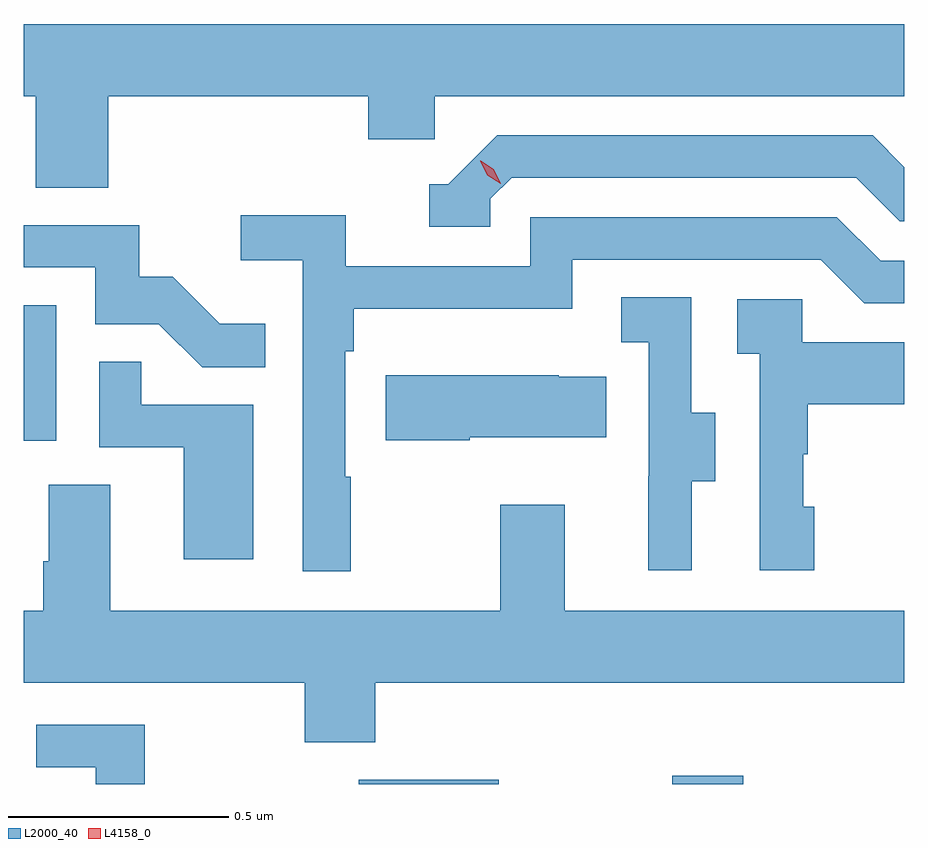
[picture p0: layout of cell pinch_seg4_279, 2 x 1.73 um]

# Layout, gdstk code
import gdstk
lib = gdstk.Library(unit=1e-6, precision=1e-09)
def R(c, l, rs):  # rectangles x0, y0, x1, y1
    for r in rs: c.add(gdstk.rectangle(r[:2], r[2:], *l))
def P(c, l, *ps):  # polygons
    for p in ps: c.add(gdstk.Polygon(p, *l))
L2000_40 = (2000, 40)
L4158_0 = (4158, 0)

pinch_seg4_279 = lib.new_cell('pinch_seg4_279')
R(pinch_seg4_279, L2000_40, [(924.745,819.234,925.063,819.244), (925.457,819.234,925.618,819.253), (923.984,820.014,924.058,820.321)])
P(pinch_seg4_279, L2000_40, [(923.984,820.796),(924.011,820.796),(924.011,820.588),(924.176,820.588),(924.176,820.796),(924.767,820.796),(924.767,820.698),(924.918,820.698),(924.918,820.796),(925.984,820.796),(925.984,820.96),(923.984,820.96)],
  [(925.044,820.563),(925.092,820.611),(925.875,820.611),(925.974,820.512),(925.984,820.512),(925.984,820.635),(925.912,820.707),(925.059,820.707),(924.948,820.596),(924.905,820.596),(924.905,820.5),(925.044,820.5)],
  [(924.727,819.932),(924.714,819.932),(924.714,820.217),(924.734,820.217),(924.734,820.313),(925.23,820.313),(925.23,820.425),(925.794,820.425),(925.893,820.326),(925.984,820.326),(925.984,820.422),(925.93,820.422),(925.831,820.521),(925.134,820.521),(925.134,820.41),(924.716,820.41),(924.716,820.526),(924.477,820.526),(924.477,820.424),(924.618,820.424),(924.618,819.717),(924.727,819.717)],
  [(924.533,820.279),(924.429,820.279),(924.322,820.386),(924.246,820.386),(924.246,820.503),(923.984,820.503),(923.984,820.407),(924.147,820.407),(924.147,820.278),(924.291,820.278),(924.389,820.18),(924.533,820.18)],
  [(925.501,819.922),(925.555,819.922),(925.555,820.077),(925.5,820.077),(925.5,820.34),(925.341,820.34),(925.341,820.237),(925.404,820.237),(925.404,819.933),(925.403,819.933),(925.403,819.72),(925.501,819.72)],
  [(925.78,819.864),(925.755,819.864),(925.755,819.983),(925.765,819.983),(925.765,820.097),(925.984,820.097),(925.984,820.237),(925.752,820.237),(925.752,820.335),(925.605,820.335),(925.605,820.211),(925.656,820.211),(925.656,819.72),(925.78,819.72)],
  [(924.505,820.095),(924.251,820.095),(924.251,820.193),(924.156,820.193),(924.156,819.999),(924.347,819.999),(924.347,819.744),(924.505,819.744)],
  [(924.997,820.022),(925.307,820.022),(925.307,820.159),(925.199,820.159),(925.199,820.162),(924.806,820.162),(924.806,820.015),(924.997,820.015)],
  [(924.782,819.464),(925.984,819.464),(925.984,819.628),(925.213,819.628),(925.213,819.868),(925.066,819.868),(925.066,819.628),(924.181,819.628),(924.181,819.914),(924.041,819.914),(924.041,819.74),(924.029,819.74),(924.029,819.628),(923.984,819.628),(923.984,819.464),(924.622,819.464),(924.622,819.329),(924.782,819.329)],
  [(924.259,819.369),(924.013,819.369),(924.013,819.272),(924.148,819.272),(924.148,819.234),(924.259,819.234)])
P(pinch_seg4_279, L4158_0, [(925.067,820.597),(925.037,820.617),(925.021,820.649),(925.021,820.65),(925.022,820.65),(925.052,820.63),(925.068,820.597),(925.068,820.597)])

lib.write_gds('pinch_seg4_279.gds')
